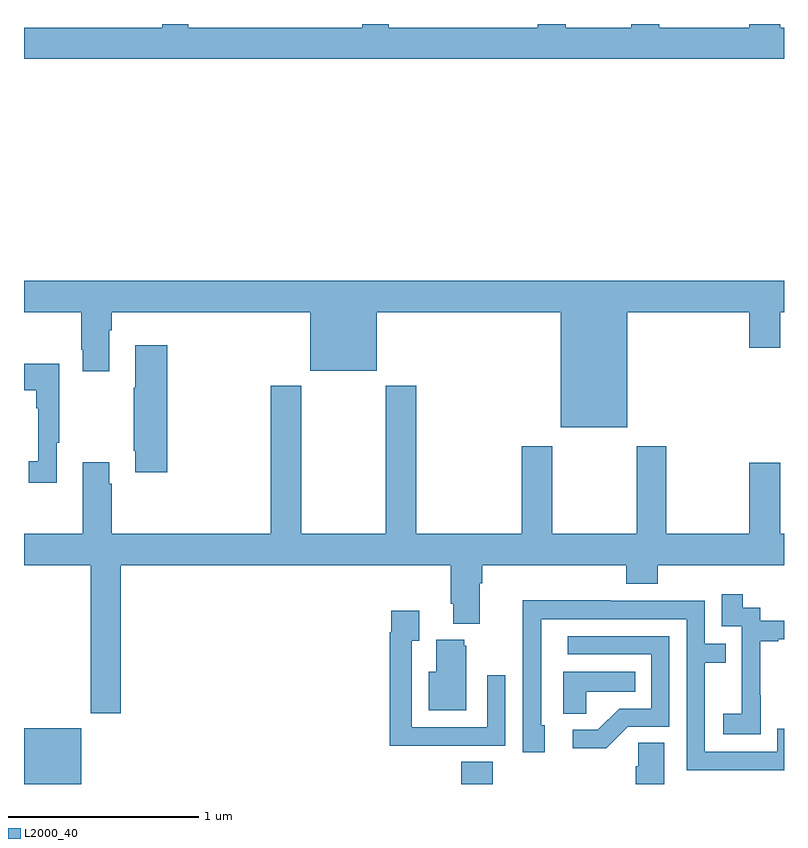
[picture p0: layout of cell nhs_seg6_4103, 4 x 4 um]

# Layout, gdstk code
import gdstk
lib = gdstk.Library(unit=1e-6, precision=1e-09)
def R(c, l, rs):  # rectangles x0, y0, x1, y1
    for r in rs: c.add(gdstk.rectangle(r[:2], r[2:], *l))
def P(c, l, *ps):  # polygons
    for p in ps: c.add(gdstk.Polygon(p, *l))
L2000_40 = (2000, 40)

nhs_seg6_4103 = lib.new_cell('nhs_seg6_4103')
R(nhs_seg6_4103, L2000_40, [(353,963.5,353.302,963.793), (355.301,963.5,355.466,963.617)])
P(nhs_seg6_4103, L2000_40, [(357,967.48),(356.98,967.48),(356.98,967.5),(356.816,967.5),(356.816,967.48),(356.343,967.48),(356.343,967.5),(356.195,967.5),(356.195,967.48),(355.851,967.48),(355.851,967.5),(355.703,967.5),(355.703,967.48),(354.919,967.48),(354.919,967.5),(354.779,967.5),(354.779,967.48),(353.865,967.48),(353.865,967.5),(353.727,967.5),(353.727,967.48),(353,967.48),(353,967.316),(357,967.316)],
  [(356.176,965.984),(356.816,965.984),(356.816,965.796),(356.98,965.796),(356.98,965.984),(357,965.984),(357,966.148),(353,966.148),(353,965.984),(353.302,965.984),(353.302,965.785),(353.309,965.785),(353.309,965.673),(353.449,965.673),(353.449,965.888),(353.462,965.888),(353.462,965.984),(354.506,965.984),(354.506,965.675),(354.856,965.675),(354.856,965.984),(355.826,965.984),(355.826,965.378),(356.176,965.378)],
  [(353.753,965.809),(353.585,965.809),(353.585,965.585),(353.578,965.585),(353.578,965.254),(353.585,965.254),(353.585,965.142),(353.753,965.142)],
  [(353.173,965.297),(353.185,965.297),(353.185,965.713),(353,965.713),(353,965.573),(353.064,965.573),(353.064,965.477),(353.076,965.477),(353.076,965.198),(353.025,965.198),(353.025,965.085),(353.173,965.085)],
  [(353.51,964.652),(355.247,964.652),(355.247,964.45),(355.259,964.45),(355.259,964.343),(355.399,964.343),(355.399,964.556),(355.412,964.556),(355.412,964.652),(356.171,964.652),(356.171,964.553),(356.336,964.553),(356.336,964.652),(357,964.652),(357,964.816),(356.98,964.816),(356.98,965.191),(356.816,965.191),(356.816,964.816),(356.379,964.816),(356.379,965.278),(356.224,965.278),(356.224,964.816),(355.779,964.816),(355.779,965.278),(355.619,965.278),(355.619,964.816),(355.064,964.816),(355.064,965.596),(354.904,965.596),(354.904,964.816),(354.459,964.816),(354.459,965.596),(354.299,965.596),(354.299,964.816),(353.462,964.816),(353.462,965.081),(353.449,965.081),(353.449,965.194),(353.309,965.194),(353.309,964.816),(353,964.816),(353,964.652),(353.35,964.652),(353.35,963.873),(353.51,963.873)],
  [(356.877,963.967),(356.876,963.967),(356.876,964.251),(356.971,964.251),(356.971,964.263),(357,964.263),(357,964.359),(356.874,964.359),(356.874,964.428),(356.782,964.428),(356.782,964.498),(356.673,964.498),(356.673,964.329),(356.778,964.329),(356.778,964.1),(356.777,964.1),(356.777,963.871),(356.679,963.871),(356.679,963.761),(356.877,963.761)],
  [(357,963.792),(356.964,963.792),(356.964,963.669),(356.583,963.669),(356.583,964.138),(356.693,964.138),(356.693,964.239),(356.583,964.239),(356.583,964.464),(356.087,964.464),(356.087,964.466),(355.624,964.466),(355.624,964.159),(355.626,964.159),(355.626,963.666),(355.741,963.666),(355.741,963.81),(355.722,963.81),(355.722,964.368),(356.487,964.368),(356.487,963.573),(357,963.573)],
  [(355.217,963.702),(355.533,963.702),(355.533,964.072),(355.437,964.072),(355.437,963.798),(355.041,963.798),(355.041,964.255),(355.081,964.255),(355.081,964.411),(354.933,964.411),(354.933,964.298),(354.925,964.298),(354.925,963.701),(355.217,963.701)],
  [(356.178,963.801),(356.397,963.801),(356.397,964.278),(355.863,964.278),(355.863,964.182),(356.301,964.182),(356.301,963.897),(356.132,963.897),(356.021,963.786),(355.887,963.786),(355.887,963.689),(356.065,963.689)],
  [(355.327,964.227),(355.316,964.227),(355.316,964.258),(355.169,964.258),(355.169,964.09),(355.13,964.09),(355.13,963.887),(355.327,963.887)],
  [(355.959,963.986),(356.216,963.986),(356.216,964.09),(355.838,964.09),(355.838,963.871),(355.959,963.871)],
  [(356.371,963.716),(356.232,963.716),(356.232,963.593),(356.219,963.593),(356.219,963.5),(356.371,963.5)])

lib.write_gds('nhs_seg6_4103.gds')
